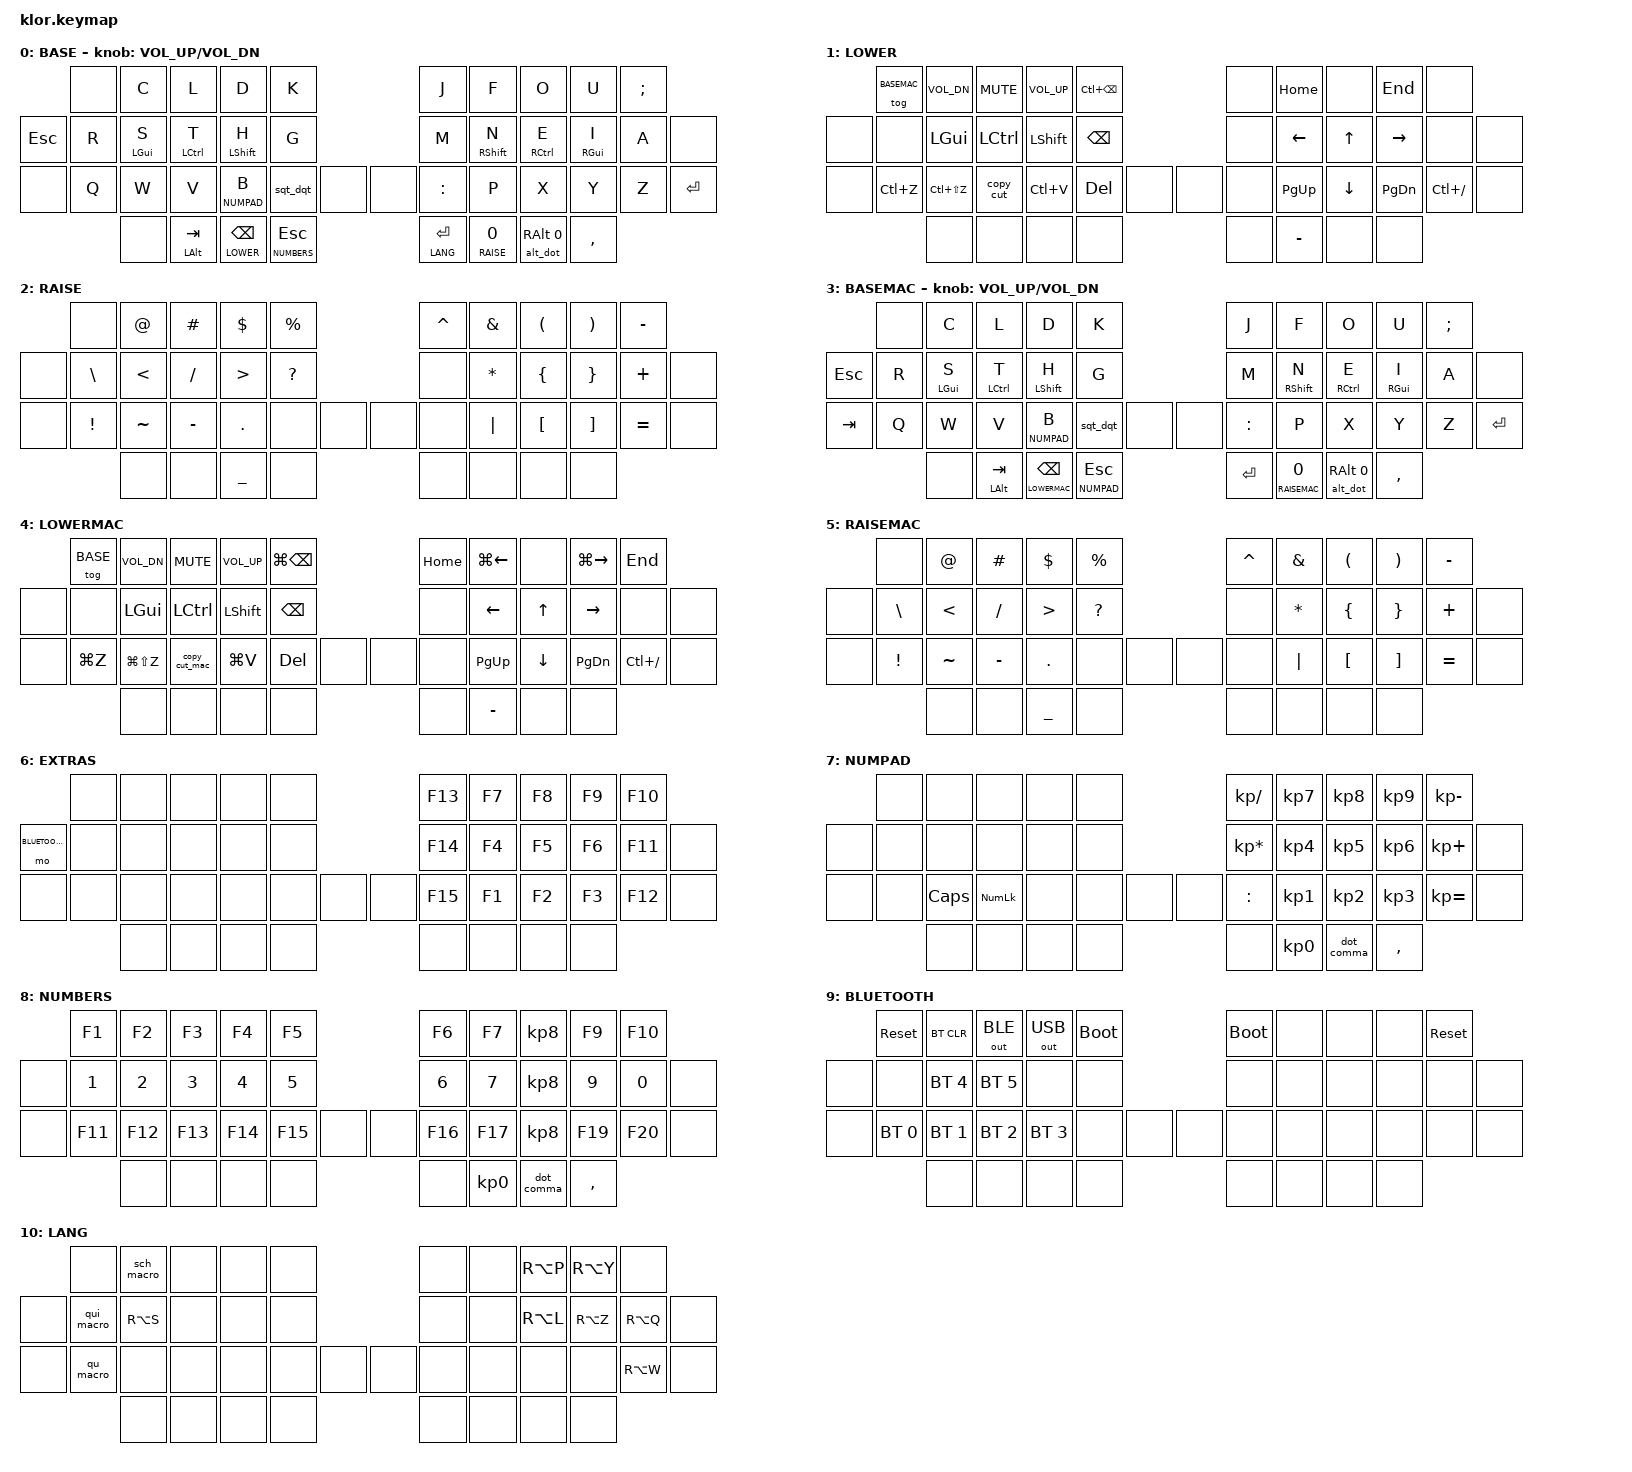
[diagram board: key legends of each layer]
#include <behaviors.dtsi>
#include <dt-bindings/zmk/keys.h>
#include <dt-bindings/zmk/bt.h>
#include <dt-bindings/zmk/outputs.h>
#include <dt-bindings/zmk/ext_power.h>
#include "../zmk-nodefree-config/helper.h"
#include "../zmk-nodefree-config/keypos_def/keypos_klor.h"

#define BASE      0
#define LOWER     1
#define RAISE     2

#define BASEMAC   3
#define LOWERMAC  4
#define RAISEMAC  5

#define EXTRAS    6
#define NUMPAD    7
#define NUMBERS   8
#define BLUETOOTH 9
#define LANG      10

#define KEYS_L LT4 LT3 LT2 LT1 LT0 LM5 LM4 LM3 LM2 LM1 LM0 LB5 LB4 LB3 LB2 LB1 LB0  // left-hand keys
#define KEYS_R RT0 RT1 RT2 RT3 RT4 RM0 RM1 RM2 RM3 RM4 RM5 RB0 RB1 RB2 RB3 RB4 RB5  // right-hand keys
#define THUMBS_L LH3 LH2 LH1 LH0
#define THUMBS_R RH0 RH1 RH2 RH3

/ {
    conditional_layers {
        compatible = "zmk,conditional-layers";
        tri_layer {
            if-layers = <LOWER RAISE>;
            then-layer = <EXTRAS>;
        };
    };
};


#define XXX &none
#define ___ &trans

#undef COMBO_TERM
#define COMBO_TERM 40

// ZMK_COMBO(comboColon, &kp COLON, RB1 RB2, 0)
// ZMK_COMBO(comboSingleQuote, &kp SINGLE_QUOTE, RT1 RT2, 0)
// ZMK_COMBO(comboDoubleQuote, &kp DOUBLE_QUOTES,  RT2 RT3, 0)

ZMK_COMBO(comboDot,   &kp DOT, RB4 RB5, 0)
ZMK_COMBO(comboComma, &kp COMMA, RB3 RB4, 0)

#define MAKE_HRM(NAME, HOLD, TAP, TRIGGER_POS) \
    ZMK_BEHAVIOR(NAME, hold_tap, \
        flavor = "balanced"; \
        tapping-term-ms = <280>; \
        quick-tap-ms = <150>; \
        bindings = <HOLD>, <TAP>; \
        hold-trigger-key-positions = <TRIGGER_POS>; \
        hold-trigger-on-release; \
        hold-while-undecided; \
    )

// left-hand HRMs
MAKE_HRM(hml, &kp, &kp, KEYS_R THUMBS_L THUMBS_R)

// right-hand HRMs
MAKE_HRM(hmr, &kp, &kp, KEYS_L THUMBS_L THUMBS_R)

&lt {
  tapping-term-ms = <280>;
  quick-tap-ms = <280>; // repeat on tap-into-hold
  flavor = "balanced";
};

&mt {
  tapping-term-ms = <280>;
  quick-tap-ms = <280>; // repeat on tap-into-hold
  flavor = "balanced";
};

// ----------------------------
ZMK_BEHAVIOR(lt_spc, hold_tap,
    flavor = "balanced";
    tapping-term-ms = <200>;
    quick-tap-ms = <175>;
    bindings = <&mo>, <&spc_morph>;
)
ZMK_BEHAVIOR(spc_morph, mod_morph,
    bindings = <&kp SPACE>, <&dot_spc>;
    mods = <(MOD_LSFT|MOD_RSFT)>;
)
ZMK_BEHAVIOR(dot_spc, macro,
    wait-ms = <0>;
    tap-ms = <5>;
    bindings = <&kp DOT &kp SPACE &sk LSHFT>;
)
// ----------------------------
// ----------------------------
ZMK_BEHAVIOR(alt_dot, hold_tap,
    flavor = "balanced";
    tapping-term-ms = <200>;
    bindings = <&kp>, <&alt_morph>;
)
ZMK_BEHAVIOR(alt_morph, mod_morph,
    bindings = <&kp DOT>, <&kp COMMA>;
    mods = <(MOD_LSFT|MOD_RSFT)>;
)
// ----------------------------
// ----------------------------
ZMK_BEHAVIOR(copy_cut, tap_dance,
    tapping-term-ms = <200>;
    bindings = <&kp LC(INS)>, <&kp LC(X)>;
)

ZMK_BEHAVIOR(copy_cut_mac, tap_dance,
    tapping-term-ms = <200>;
    bindings = <&kp LG(V)>, <&kp LG(X)>;
)

ZMK_BEHAVIOR(dot_comma, tap_dance,
    tapping-term-ms = <200>;
    bindings = <&kp DOT>, <&kp COMMA>;
)

ZMK_BEHAVIOR(sqt_dqt, tap_dance,
    tapping-term-ms = <200>;
    bindings = <&kp SQT>, <&kp DQT>;
)
// ----------------------------
ZMK_BEHAVIOR(qu_macro, macro,
    wait-ms = <0>;
    tap-ms = <5>;
    bindings = <&kp Q>, <&kp U>;
)
ZMK_BEHAVIOR(qui_macro, macro,
    wait-ms = <0>;
    tap-ms = <5>;
    bindings = <&kp Q>, <&kp U>, <&kp I>;
)
ZMK_BEHAVIOR(sch_macro, macro,
    wait-ms = <0>;
    tap-ms = <5>;
    bindings = <&kp S>, <&kp C>, <&kp H>;
)

/ {

    keymap {
      compatible = "zmk,keymap";

      // base_layer {
      //   label= "BASE";
      //   bindings = <
      //               &kp Q       &kp W         &kp F           &kp P     &kp B                                 &kp J               &kp L         &kp U         &kp Y         &kp Z
      //     &kp ESC   &kp A       &kp R         &kp S           &kp T     &kp G                                 &kp M               &kp N         &kp E         &kp I         &kp O        &kp SEMI
      //     &kp TAB   &kp COMMA   &kp K         &kp C           &kp D     &sqt_dqt      &trans      &trans      &kp COLON           &kp H         &kp X         &kp V         &dot_comma   &kp ENTER
      //               XXX         &mt LALT TAB  &lt LOWER BSPC  &lt NUMPAD ESC                      &kp ENTER   &lt_spc RAISE 0     &alt_dot RALT 0    XXX
      //   >;
      //   sensor-bindings = <&inc_dec_kp C_VOL_UP C_VOL_DN>;
      //   //sensor-bindings = <&inc_dec_kp C_VOL_UP C_VOL_DN &inc_dec_kp PG_UP PG_DN>;
      // };

      base_layer {
        label= "BASE";
        bindings = <
                    XXX         &kp C         &kp L               &kp D           &kp K                                       &kp J               &kp F             &kp O             &kp U         &kp SEMI
          &kp ESC   &kp R       &hml LGUI S   &hml LCTRL T        &hml LSHIFT H   &kp G                                       &kp M               &hmr RSHIFT N     &hmr RCTRL E      &hmr RGUI I   &kp A       XXX
          XXX       &kp Q       &kp W         &kp V               &lt NUMPAD B    &sqt_dqt        XXX             XXX         &kp COLON           &kp P             &kp X             &kp Y         &kp Z       &kp ENTER
                                XXX           &mt LALT TAB        &lt LOWER BSPC  &lt NUMBERS ESC                             &lt LANG RET        &lt_spc RAISE 0   &alt_dot RALT 0   &kp COMMA
        >;
        sensor-bindings = <&inc_dec_kp C_VOL_UP C_VOL_DN>;
        //sensor-bindings = <&inc_dec_kp C_VOL_UP C_VOL_DN &inc_dec_kp PG_UP PG_DN>;
      };


      lower_layer {
        label= "LOWER";
        bindings = <
                    &tog BASEMAC  &kp K_VOL_DN  &kp K_MUTE          &kp K_VOL_UP  &kp LC(BSPC)                                XXX                 &kp HOME          XXX               &kp END       XXX
          XXX       XXX           &kp LGUI      &kp LCTRL           &kp LSHIFT    &kp BSPC                                    XXX                 &kp LEFT          &kp UP            &kp RIGHT     XXX             XXX
          XXX       &kp LC(Z)     &kp LC(LS(Z)) &copy_cut           &kp LC(V)     &kp DEL         XXX             XXX         XXX                 &kp PG_UP         &kp DOWN          &kp PG_DN     &kp LC(SLASH)   XXX
                                  XXX           XXX                 XXX           XXX                                         XXX                 &kp MINUS         XXX               XXX
        >;
        // sensor-bindings = <&inc_dec_kp C_VOL_UP C_VOL_DN>;
      };


      raise_layer {
        label= "RAISE";
        bindings = <
                    XXX             &kp AT    &kp HASH  &kp DOLLAR  &kp PERCENT                       &kp CARET &kp AMPS      &kp LPAR  &kp RPAR   &kp MINUS
          XXX       &kp BACKSLASH   &kp LT    &kp SLASH &kp GT      &kp QMARK                         XXX       &kp ASTERISK  &kp LBRC  &kp RBRC   &kp PLUS     XXX
          XXX       &kp EXCL        &kp TILDE &kp MINUS &kp DOT     XXX         XXX           XXX     XXX       &kp PIPE      &kp LBKT  &kp RBKT   &kp EQUAL    XXX
                              XXX   XXX       &kp UNDER XXX                                           XXX       XXX           XXX       XXX
        >;
        // sensor-bindings = <&inc_dec_kp C_VOL_UP C_VOL_DN>;
      };


      base_layer_mac {
        label= "BASEMAC";
        bindings = <
                    XXX         &kp C         &kp L               &kp D             &kp K                                       &kp J               &kp F               &kp O             &kp U         &kp SEMI
          &kp ESC   &kp R       &hml LGUI S   &hml LCTRL T        &hml LSHIFT H     &kp G                                       &kp M               &hmr RSHIFT N       &hmr RCTRL E      &hmr RGUI I   &kp A       XXX
          &kp TAB   &kp Q       &kp W         &kp V               &lt NUMPAD B      &sqt_dqt        XXX             XXX         &kp COLON           &kp P               &kp X             &kp Y         &kp Z       &kp ENTER
                                XXX           &mt LALT TAB        &lt LOWERMAC BSPC &lt NUMPAD ESC                              &kp ENTER           &lt_spc RAISEMAC 0  &alt_dot RALT 0   &kp COMMA
        >;
        sensor-bindings = <&inc_dec_kp C_VOL_UP C_VOL_DN>;
        //sensor-bindings = <&inc_dec_kp C_VOL_UP C_VOL_DN &inc_dec_kp PG_UP PG_DN>;
      };


      lower_layer_mac {
        label= "LOWERMAC";
        bindings = <
                    &tog BASE     &kp K_VOL_DN  &kp K_MUTE          &kp K_VOL_UP  &kp LG(BSPC)                            &kp HOME            &kp LG(LEFT)      XXX               &kp LG(RIGHT) &kp END
          XXX       XXX           &kp LGUI      &kp LCTRL           &kp LSHIFT    &kp BSPC                                XXX                 &kp LEFT          &kp UP            &kp RIGHT     XXX             XXX
          XXX       &kp LG(Z)     &kp LG(LS(Z)) &copy_cut_mac       &kp LG(V)     &kp DEL     XXX             XXX         XXX                 &kp PG_UP         &kp DOWN          &kp PG_DN     &kp LC(SLASH)   XXX
                                  XXX           XXX                 XXX           XXX                                     XXX                 &kp MINUS         XXX               XXX
        >;
        // sensor-bindings = <&inc_dec_kp C_VOL_UP C_VOL_DN>;
      };


      raise_layer_mac {
        label= "RAISEMAC";
        bindings = <
                    XXX             &kp AT    &kp HASH  &kp DOLLAR  &kp PERCENT                       &kp CARET &kp AMPS      &kp LPAR  &kp RPAR   &kp MINUS
          XXX       &kp BACKSLASH   &kp LT    &kp SLASH &kp GT      &kp QMARK                         XXX       &kp ASTERISK  &kp LBRC  &kp RBRC   &kp PLUS     XXX
          XXX       &kp EXCL        &kp TILDE &kp MINUS &kp DOT     XXX         XXX           XXX     XXX       &kp PIPE      &kp LBKT  &kp RBKT   &kp EQUAL    XXX
                    XXX             XXX       &kp UNDER XXX                                                  XXX       XXX           XXX       XXX
        >;
        // sensor-bindings = <&inc_dec_kp C_VOL_UP C_VOL_DN>;
      };

      adjust_layer {
        label= "EXTRAS";
          bindings = <
                        XXX        XXX        XXX           XXX             XXX                                 &kp F13   &kp F7   &kp F8    &kp F9    &kp F10
          &mo BLUETOOTH XXX        XXX        XXX           XXX             XXX                                 &kp F14   &kp F4   &kp F5    &kp F6    &kp F11  XXX
          XXX           XXX        XXX        XXX           XXX             XXX       XXX             XXX       &kp F15   &kp F1   &kp F2    &kp F3    &kp F12  XXX
                                    XXX       XXX           XXX             XXX                                 XXX       XXX      XXX       XXX
        >;
        // sensor-bindings = <&inc_dec_kp C_VOL_UP C_VOL_DN>;
      };

      numpad_layer {
        label= "NUMPAD";
          bindings = <
                       XXX        XXX           XXX             XXX             XXX                                 &kp KP_DIVIDE   &kp KP_N7   &kp KP_N8   &kp KP_N9   &kp KP_MINUS
          XXX          XXX        XXX           XXX             XXX             XXX                                 &kp KP_MULTIPLY &kp KP_N4   &kp KP_N5   &kp KP_N6   &kp KP_PLUS   XXX
          XXX          XXX        &kp CAPSLOCK  &kp KP_NUMLOCK  XXX             XXX       XXX             XXX       &kp COLON       &kp KP_N1   &kp KP_N2   &kp KP_N3   &kp KP_EQUAL  XXX
                                  XXX           XXX             XXX             XXX                                 XXX             &kp KP_N0   &dot_comma  &kp COMMA
        >;
        // sensor-bindings = <&inc_dec_kp C_VOL_UP C_VOL_DN>;
      };

      numbers_layer {
        label= "NUMBERS";
          bindings = <
                       &kp F1       &kp F2        &kp F3          &kp F4          &kp F5                              &kp F6          &kp F7        &kp KP_N8   &kp F9        &kp F10
          XXX          &kp NUMBER_1 &kp NUMBER_2  &kp NUMBER_3    &kp NUMBER_4    &kp NUMBER_5                        &kp NUMBER_6    &kp NUMBER_7  &kp KP_N8   &kp NUMBER_9  &kp NUMBER_0    XXX
          XXX          &kp F11      &kp F12       &kp F13         &kp F14         &kp F15      XXX             XXX    &kp F16         &kp F17       &kp KP_N8   &kp F19       &kp F20         XXX
                                    XXX           XXX             XXX             XXX                                 XXX             &kp KP_N0     &dot_comma  &kp COMMA
        >;
        // sensor-bindings = <&inc_dec_kp C_VOL_UP C_VOL_DN>;
      };

      bluetooth_layer {
        label= "BLUETOOTH";
          bindings = <
                        &sys_reset    &bt BT_CLR    &out OUT_BLE  &out OUT_USB  &bootloader                           &bootloader   XXX           XXX           XXX           &sys_reset
          XXX           XXX           &bt BT_SEL 4  &bt BT_SEL 5  XXX           XXX                                   XXX           XXX           XXX           XXX           XXX           XXX
          XXX           &bt BT_SEL 0  &bt BT_SEL 1  &bt BT_SEL 2  &bt BT_SEL 3  XXX           XXX             XXX     XXX           XXX           XXX           XXX           XXX           XXX
                                      XXX           XXX           XXX           XXX                                   XXX           XXX           XXX           XXX
        >;
        // sensor-bindings = <&inc_dec_kp C_VOL_UP C_VOL_DN>;
      };

      fun_layer {
        label= "LANG";
          bindings = <
                       XXX        &sch_macro  XXX       XXX       XXX                         XXX       XXX       &kp RA(P)   &kp RA(Y)     XXX
          XXX          &qui_macro &kp RA(S)   XXX       XXX       XXX                         XXX       XXX       &kp RA(L)   &kp RA(Z)     &kp RA(Q)   XXX
          XXX          &qu_macro  XXX         XXX       XXX       XXX    XXX          XXX     XXX       XXX       XXX         XXX           &kp RA(W)   XXX
                                  XXX         XXX       XXX       XXX                         XXX       XXX       XXX         XXX
        >;
        // sensor-bindings = <&inc_dec_kp C_VOL_UP C_VOL_DN>;
      };
    };
  };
